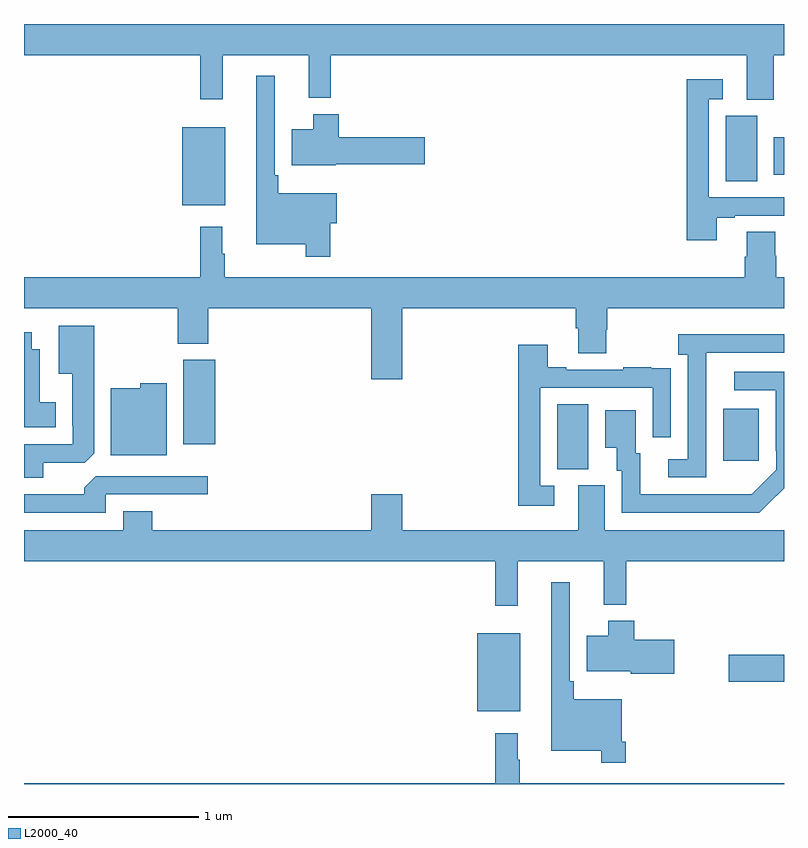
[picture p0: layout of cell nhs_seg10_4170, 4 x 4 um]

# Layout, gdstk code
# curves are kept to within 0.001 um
import gdstk
lib = gdstk.Library(unit=1e-6, precision=1e-09)
def R(c, l, rs):  # rectangles x0, y0, x1, y1
    for r in rs: c.add(gdstk.rectangle(r[:2], r[2:], *l))
def P(c, l, *ps):  # polygons
    for p in ps: c.add(gdstk.Polygon(p, *l))
L2000_40 = (2000, 40)

nhs_seg10_4170 = lib.new_cell('nhs_seg10_4170')
R(nhs_seg10_4170, L2000_40, [(345.386,1276.883,345.613,1277.293), (346.71,1277.039,347,1277.181), (345.806,1278.157,345.97,1278.5), (346.679,1278.201,346.867,1278.475), (343.838,1278.288,344.006,1278.732), (343.832,1279.547,344.059,1279.957), (346.694,1279.672,346.858,1280.016), (346.946,1279.707,347,1279.903)])
P(nhs_seg10_4170, L2000_40, [(343,1280.336),(343.927,1280.336),(343.927,1280.103),(344.045,1280.103),(344.045,1280.336),(344.498,1280.336),(344.498,1280.111),(344.615,1280.111),(344.615,1280.336),(346.805,1280.336),(346.805,1280.101),(346.945,1280.101),(346.945,1280.336),(347,1280.336),(347,1280.5),(343,1280.5)],
  [(344.612,1279.451),(344.647,1279.451),(344.647,1279.609),(344.339,1279.609),(344.339,1279.705),(344.319,1279.705),(344.319,1280.227),(344.222,1280.227),(344.222,1279.34),(344.484,1279.34),(344.484,1279.275),(344.612,1279.275)],
  [(346.645,1279.479),(346.741,1279.479),(346.741,1279.491),(347,1279.491),(347,1279.587),(346.605,1279.587),(346.605,1280.103),(346.678,1280.103),(346.678,1280.209),(346.489,1280.209),(346.489,1279.362),(346.645,1279.362)],
  [(344.64,1279.763),(345.109,1279.763),(345.109,1279.905),(344.657,1279.905),(344.657,1280.026),(344.522,1280.026),(344.522,1279.945),(344.408,1279.945),(344.408,1279.757),(344.64,1279.757)],
  [(344.992,1279.004),(345.905,1279.004),(345.905,1278.898),(345.917,1278.898),(345.917,1278.766),(346.065,1278.766),(346.065,1278.891),(346.07,1278.891),(346.07,1279.004),(347,1279.004),(347,1279.168),(346.958,1279.168),(346.958,1279.281),(346.953,1279.281),(346.953,1279.406),(346.805,1279.406),(346.805,1279.274),(346.793,1279.274),(346.793,1279.168),(344.056,1279.168),(344.056,1279.292),(344.044,1279.292),(344.044,1279.432),(343.927,1279.432),(343.927,1279.168),(343,1279.168),(343,1279.004),(343.81,1279.004),(343.81,1278.817),(343.97,1278.817),(343.97,1279.004),(344.828,1279.004),(344.828,1278.63),(344.992,1278.63)],
  [(343.102,1278.192),(343.32,1278.192),(343.369,1278.241),(343.369,1278.913),(343.184,1278.913),(343.184,1278.659),(343.253,1278.659),(343.253,1278.385),(343.257,1278.385),(343.257,1278.288),(343,1278.288),(343,1278.113),(343.102,1278.113)],
  [(343.168,1278.508),(343.084,1278.508),(343.084,1278.787),(343.042,1278.787),(343.042,1278.877),(343,1278.877),(343,1278.377),(343.168,1278.377)],
  [(346.59,1278.571),(346.591,1278.571),(346.591,1278.771),(347,1278.771),(347,1278.868),(346.443,1278.868),(346.443,1278.758),(346.494,1278.758),(346.494,1278.21),(346.392,1278.21),(346.392,1278.114),(346.59,1278.114)],
  [(345.79,1278.069),(345.717,1278.069),(345.717,1278.585),(346.308,1278.585),(346.308,1278.324),(346.404,1278.324),(346.404,1278.578),(346.403,1278.578),(346.403,1278.687),(346.301,1278.687),(346.301,1278.694),(346.153,1278.694),(346.153,1278.681),(345.853,1278.681),(345.853,1278.694),(345.757,1278.694),(345.757,1278.811),(345.601,1278.811),(345.601,1277.964),(345.79,1277.964)],
  [(346.961,1278.019),(346.962,1278.018),(347,1278.056),(347,1278.669),(346.737,1278.669),(346.737,1278.573),(346.956,1278.573),(346.956,1278.253),(346.959,1278.253),(346.959,1278.153),(346.831,1278.025),(346.243,1278.024),(346.243,1278.24),(346.219,1278.24),(346.219,1278.466),(346.058,1278.466),(346.058,1278.269),(346.121,1278.269),(346.121,1278.15),(346.146,1278.15),(346.146,1277.928),(346.87,1277.928)],
  [(343.75,1278.61),(343.611,1278.61),(343.611,1278.583),(343.457,1278.583),(343.457,1278.23),(343.75,1278.23)],
  [(343.431,1278.024),(343.966,1278.024),(343.966,1278.12),(343.377,1278.12),(343.316,1278.058),(343.316,1278.024),(343,1278.024),(343,1277.928),(343.431,1277.928)],
  [(345.599,1277.672),(346.052,1277.672),(346.052,1277.444),(346.169,1277.444),(346.169,1277.672),(347,1277.672),(347,1277.836),(346.057,1277.836),(346.057,1278.072),(345.917,1278.072),(345.917,1277.836),(344.992,1277.836),(344.992,1278.025),(344.828,1278.025),(344.828,1277.836),(343.676,1277.836),(343.676,1277.935),(343.523,1277.935),(343.523,1277.836),(343,1277.836),(343,1277.672),(345.481,1277.672),(345.481,1277.439),(345.599,1277.439)],
  [(346.166,1276.723),(346.146,1276.723),(346.146,1276.945),(345.893,1276.945),(345.893,1277.041),(345.873,1277.041),(345.873,1277.563),(345.776,1277.563),(345.776,1276.676),(346.038,1276.676),(346.038,1276.611),(346.166,1276.611)],
  [(346.423,1277.259),(346.211,1277.259),(346.211,1277.359),(346.076,1277.359),(346.076,1277.281),(345.962,1277.281),(345.962,1277.093),(346.194,1277.093),(346.194,1277.081),(346.423,1277.081)],
  [(347,1276.504),(345.61,1276.504),(345.61,1276.628),(345.598,1276.628),(345.598,1276.768),(345.481,1276.768),(345.481,1276.504),(343,1276.504),(343,1276.5),(347,1276.5)])

lib.write_gds('nhs_seg10_4170.gds')
